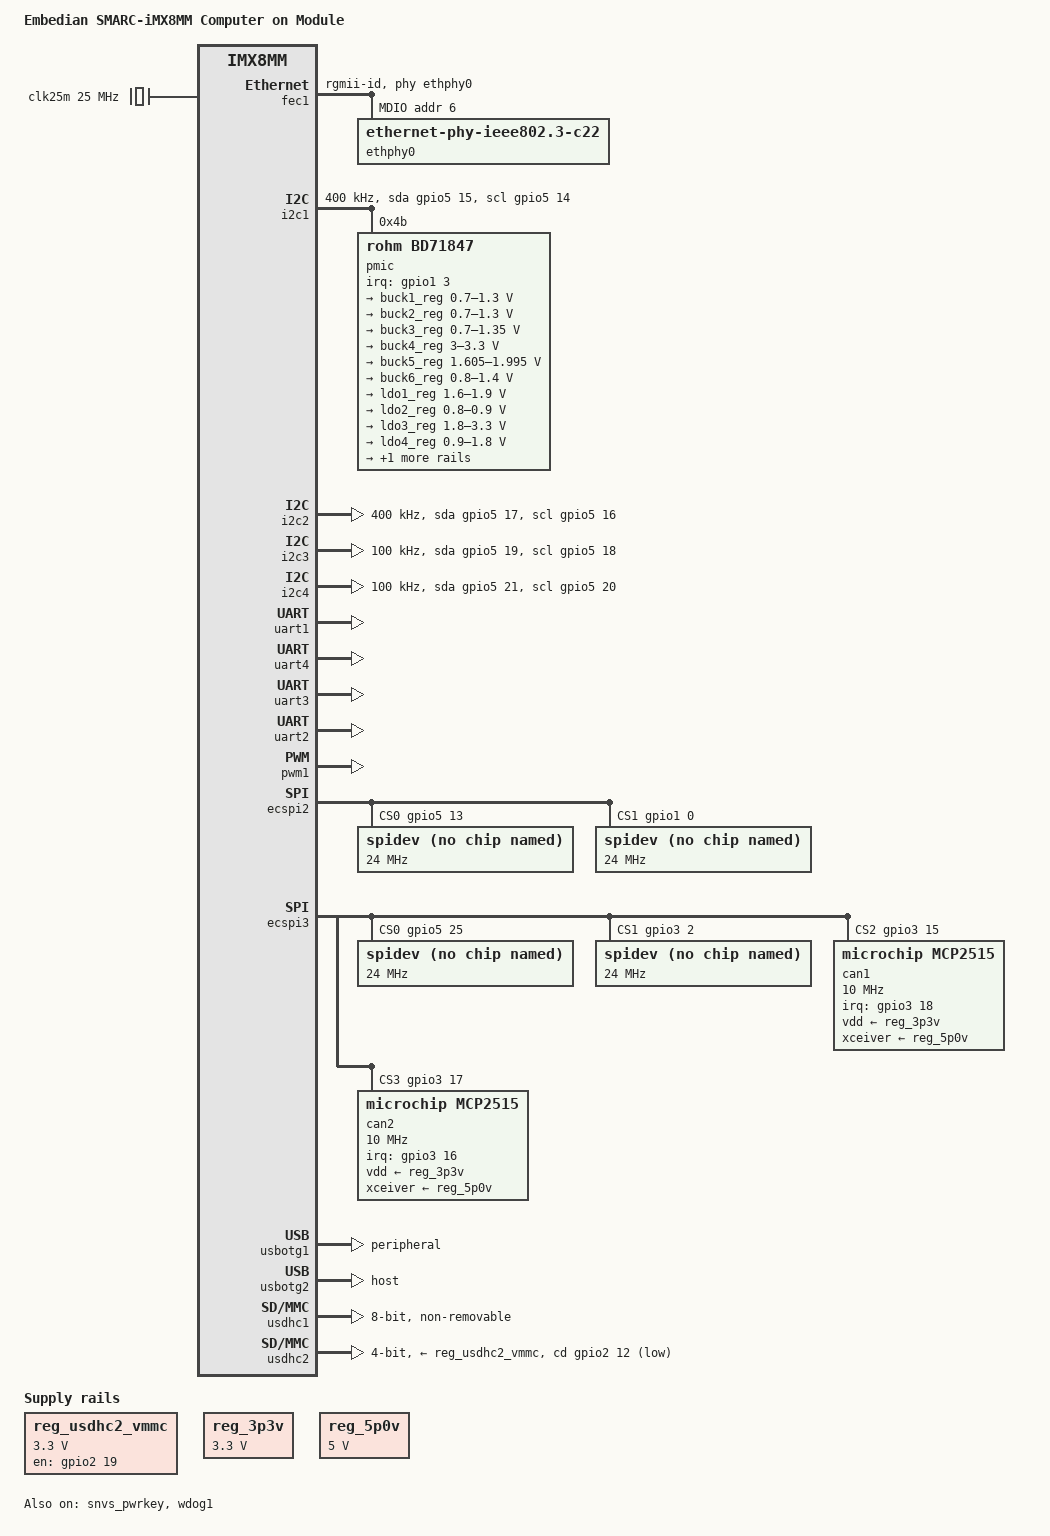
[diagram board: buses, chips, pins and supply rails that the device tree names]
// SPDX-License-Identifier: (GPL-2.0+ OR MIT)
/*
 * Copyright 2019 NXP
 * Copyright 2020 EMBEDIAN, INC.
 */

/dts-v1/;

#include <dt-bindings/usb/pd.h>
#include "imx8mm.dtsi"

/ {
	model = "Embedian SMARC-iMX8MM Computer on Module";
	compatible = "embedian,smarcimx8mm", "fsl,imx8mm";

	reg_usdhc2_vmmc: regulator-usdhc2 {
		compatible = "regulator-fixed";
		pinctrl-names = "default";
		pinctrl-0 = <&pinctrl_reg_usdhc2_vmmc>;
		regulator-name = "VSD_3V3";
		regulator-min-microvolt = <3300000>;
		regulator-max-microvolt = <3300000>;
		gpio = <&gpio2 19 GPIO_ACTIVE_HIGH>;
		off-on-delay-us = <20000>;
		enable-active-high;
	};

        backlight: backlight {
                compatible = "pwm-backlight";
                pwms = <&pwm1 0 1000000 0>;
                brightness-levels = < 0  1  2  3  4  5  6  7  8  9
                                     10 11 12 13 14 15 16 17 18 19
                                     20 21 22 23 24 25 26 27 28 29
                                     30 31 32 33 34 35 36 37 38 39
                                     40 41 42 43 44 45 46 47 48 49
                                     50 51 52 53 54 55 56 57 58 59
                                     60 61 62 63 64 65 66 67 68 69
                                     70 71 72 73 74 75 76 77 78 79
                                     80 81 82 83 84 85 86 87 88 89
                                     90 91 92 93 94 95 96 97 98 99
                                    100>;
                default-brightness-level = <80>;
                status = "disabled";
        };

	dsi_host: dsi-host {
		compatible = "samsung,sec-mipi-dsi";
		status = "okay";
	};

	reg_3p3v: 3p3v {
		compatible = "regulator-fixed";
		regulator-name = "3P3V";
		regulator-min-microvolt = <3300000>;
		regulator-max-microvolt = <3300000>;
		regulator-always-on;
	};

	reg_5p0v: 5p0v {
		compatible = "regulator-fixed";
		regulator-name = "5P0V";
		regulator-min-microvolt = <5000000>;
		regulator-max-microvolt = <5000000>;
		regulator-always-on;
	};

        /* external oscillator of mcp2515 on SPI1.2 and SPI1.3 */
        clk25m: clock-25m {
                compatible = "fixed-clock";
                #clock-cells = <0>;
                clock-frequency  = <25000000>;
                clock-output-names = "clk25m";
        };
};

&A53_0 {
	cpu-supply = <&buck2_reg>;
};

&fec1 {
	pinctrl-names = "default";
	pinctrl-0 = <&pinctrl_fec1>;
	phy-mode = "rgmii-id";
	phy-handle = <&ethphy0>;
	fsl,magic-packet;
	status = "okay";

	mdio {
		#address-cells = <1>;
		#size-cells = <0>;

		ethphy0: ethernet-phy@0 {
			compatible = "ethernet-phy-ieee802.3-c22";
			reg = <6>;
		};
	};
};

&i2c1 {
	clock-frequency = <400000>;
	pinctrl-names = "default", "gpio";
	pinctrl-0 = <&pinctrl_i2c1>;
	pinctrl-1 = <&pinctrl_i2c1_gpio>;
	scl-gpios = <&gpio5 14 GPIO_ACTIVE_HIGH>;
	sda-gpios = <&gpio5 15 GPIO_ACTIVE_HIGH>;

	pmic@4b {
		compatible = "rohm,bd71847";
		reg = <0x4b>;
		pinctrl-0 = <&pinctrl_pmic>;
		interrupt-parent = <&gpio1>;
		interrupts = <3 GPIO_ACTIVE_LOW>;
		rohm,reset-snvs-powered;

		regulators {
			buck1_reg: BUCK1 {
				regulator-name = "BUCK1";
				regulator-min-microvolt = <700000>;
				regulator-max-microvolt = <1300000>;
				regulator-boot-on;
				regulator-always-on;
				regulator-ramp-delay = <1250>;
			};

			buck2_reg: BUCK2 {
				regulator-name = "BUCK2";
				regulator-min-microvolt = <700000>;
				regulator-max-microvolt = <1300000>;
				regulator-boot-on;
				regulator-always-on;
				regulator-ramp-delay = <1250>;
				rohm,dvs-run-voltage = <1000000>;
				rohm,dvs-idle-voltage = <900000>;
			};

			buck3_reg: BUCK3 {
				// BUCK5 in datasheet
				regulator-name = "BUCK3";
				regulator-min-microvolt = <700000>;
				regulator-max-microvolt = <1350000>;
				regulator-boot-on;
				regulator-always-on;
			};

			buck4_reg: BUCK4 {
				// BUCK6 in datasheet
				regulator-name = "BUCK4";
				regulator-min-microvolt = <3000000>;
				regulator-max-microvolt = <3300000>;
				regulator-boot-on;
				regulator-always-on;
			};

			buck5_reg: BUCK5 {
				// BUCK7 in datasheet
				regulator-name = "BUCK5";
				regulator-min-microvolt = <1605000>;
				regulator-max-microvolt = <1995000>;
				regulator-boot-on;
				regulator-always-on;
			};

			buck6_reg: BUCK6 {
				// BUCK8 in datasheet
				regulator-name = "BUCK6";
				regulator-min-microvolt = <800000>;
				regulator-max-microvolt = <1400000>;
				regulator-boot-on;
				regulator-always-on;
			};

			ldo1_reg: LDO1 {
				regulator-name = "LDO1";
				regulator-min-microvolt = <1600000>;
				regulator-max-microvolt = <1900000>;
				regulator-boot-on;
				regulator-always-on;
			};

			ldo2_reg: LDO2 {
				regulator-name = "LDO2";
				regulator-min-microvolt = <800000>;
				regulator-max-microvolt = <900000>;
				regulator-boot-on;
				regulator-always-on;
			};

			ldo3_reg: LDO3 {
				regulator-name = "LDO3";
				regulator-min-microvolt = <1800000>;
				regulator-max-microvolt = <3300000>;
				regulator-boot-on;
				regulator-always-on;
			};

			ldo4_reg: LDO4 {
				regulator-name = "LDO4";
				regulator-min-microvolt = <900000>;
				regulator-max-microvolt = <1800000>;
				regulator-boot-on;
				regulator-always-on;
			};

			ldo6_reg: LDO6 {
				regulator-name = "LDO6";
				regulator-min-microvolt = <900000>;
				regulator-max-microvolt = <1800000>;
				regulator-boot-on;
				regulator-always-on;
			};
		};
	};
};

&i2c2 {
	clock-frequency = <400000>;
	pinctrl-names = "default", "gpio";
	pinctrl-0 = <&pinctrl_i2c2>;
	pinctrl-1 = <&pinctrl_i2c2_gpio>;
	scl-gpios = <&gpio5 16 GPIO_ACTIVE_HIGH>;
	sda-gpios = <&gpio5 17 GPIO_ACTIVE_HIGH>;
	status = "okay";
};

&i2c3 {
	clock-frequency = <100000>;
	pinctrl-names = "default", "gpio";
	pinctrl-0 = <&pinctrl_i2c3>;
	pinctrl-1 = <&pinctrl_i2c3_gpio>;
	scl-gpios = <&gpio5 18 GPIO_ACTIVE_HIGH>;
	sda-gpios = <&gpio5 19 GPIO_ACTIVE_HIGH>;
	status = "okay";
};

&i2c4 {
        clock-frequency = <100000>;
        pinctrl-names = "default", "gpio";
        pinctrl-0 = <&pinctrl_i2c4>;
        pinctrl-1 = <&pinctrl_i2c4_gpio>;
        scl-gpios = <&gpio5 20 GPIO_ACTIVE_HIGH>;
        sda-gpios = <&gpio5 21 GPIO_ACTIVE_HIGH>;
        status = "okay";
};

&snvs_pwrkey {
	status = "okay";
};

/* SER0 */
&uart1 {
        pinctrl-names = "default";
        pinctrl-0 = <&pinctrl_uart1>;
        assigned-clocks = <&clk IMX8MM_CLK_UART1>;
        assigned-clock-parents = <&clk IMX8MM_SYS_PLL1_80M>;
        uart-has-rtscts;
        status = "okay";
};

/* SER1 */
&uart4 {
        pinctrl-names = "default";
        pinctrl-0 = <&pinctrl_uart4>;
        status = "okay";
};

/* SER2 */
&uart3 {
        pinctrl-names = "default";
        pinctrl-0 = <&pinctrl_uart3>;
        assigned-clocks = <&clk IMX8MM_CLK_UART3>;
        assigned-clock-parents = <&clk IMX8MM_SYS_PLL1_80M>;
        uart-has-rtscts;
        status = "okay";
};

/* SER3 */
&uart2 { /* console */
        pinctrl-names = "default";
        pinctrl-0 = <&pinctrl_uart2>;
        status = "okay";
};

&pwm1 {
        status = "okay";
        pinctrl-names = "default";
        pinctrl-0 = <&pinctrl_pwm1>;
};

&ecspi2 {
        #address-cells = <1>;
        #size-cells = <0>;
        pinctrl-names = "default";
        pinctrl-0 = <&pinctrl_ecspi2>;
        cs-gpios = <&gpio5 13 0>, <&gpio1 0 0>;
        fsl,spi-num-chipselects = <2>;
        status = "okay";

        spidev@0 {
                compatible = "rohm,dh2228fv";
                reg = <0>;
                spi-max-frequency = <24000000>;
                };

        spidev@1 {
                compatible = "rohm,dh2228fv";
                reg = <1>;
                spi-max-frequency = <24000000>;
                };
};

&ecspi3 {
        #address-cells = <1>;
        #size-cells = <0>;
        pinctrl-names = "default";
        pinctrl-0 = <&pinctrl_ecspi3>;
        cs-gpios = <&gpio5 25 0>, <&gpio3 2 0>, <&gpio3 15 0>, <&gpio3 17 0>;
        fsl,spi-num-chipselects = <4>;
        status = "okay";

        spidev@0 {
                compatible = "rohm,dh2228fv";
                reg = <0>;
                spi-max-frequency = <24000000>;
                };

        spidev@1 {
                compatible = "rohm,dh2228fv";
                reg = <1>;
                spi-max-frequency = <24000000>;
                };

        can1: can@2 {
                compatible = "microchip,mcp2515";
                reg = <2>;
                interrupt-parent = <&gpio3>;
                interrupts = <18 IRQ_TYPE_EDGE_FALLING>;
                spi-max-frequency = <10000000>;
                clocks = <&clk25m>;
                vdd-supply = <&reg_3p3v>;
                xceiver-supply = <&reg_5p0v>;
        };

        can2: can@3 {
                compatible = "microchip,mcp2515";
                reg = <3>;
                interrupt-parent = <&gpio3>;
                interrupts = <16 IRQ_TYPE_EDGE_FALLING>;
                spi-max-frequency = <10000000>;
                clocks = <&clk25m>;
                vdd-supply = <&reg_3p3v>;
                xceiver-supply = <&reg_5p0v>;
  	};
};

&usbotg1 {
        status = "okay";
        dr_mode = "peripheral";
};

&usbotg2 {
        status = "okay";
        dr_mode = "host";
};

&usdhc1 {
        pinctrl-names = "default", "state_100mhz", "state_200mhz";
        pinctrl-0 = <&pinctrl_usdhc1>;
        pinctrl-1 = <&pinctrl_usdhc1_100mhz>;
        pinctrl-2 = <&pinctrl_usdhc1_200mhz>;
        bus-width = <8>;
        non-removable;
        status = "okay";
};

&usdhc2 {
        pinctrl-names = "default", "state_100mhz", "state_200mhz";
        pinctrl-0 = <&pinctrl_usdhc2>, <&pinctrl_usdhc2_gpio>;
        pinctrl-1 = <&pinctrl_usdhc2_100mhz>, <&pinctrl_usdhc2_gpio>;
        pinctrl-2 = <&pinctrl_usdhc2_200mhz>, <&pinctrl_usdhc2_gpio>;
        bus-width = <4>;
        cd-gpios = <&gpio2 12 GPIO_ACTIVE_LOW>;
        vmmc-supply = <&reg_usdhc2_vmmc>;
        status = "okay";
};

&wdog1 {
	pinctrl-names = "default";
	pinctrl-0 = <&pinctrl_wdog>;
	fsl,ext-reset-output;
	status = "okay";
};

&iomuxc {
	pinctrl-names = "default";

	pinctrl_fec1: fec1grp {
		fsl,pins = <
			MX8MM_IOMUXC_ENET_MDC_ENET1_MDC			0x3
			MX8MM_IOMUXC_ENET_MDIO_ENET1_MDIO		0x3
			MX8MM_IOMUXC_ENET_TD3_ENET1_RGMII_TD3		0x1f
			MX8MM_IOMUXC_ENET_TD2_ENET1_RGMII_TD2		0x1f
			MX8MM_IOMUXC_ENET_TD1_ENET1_RGMII_TD1		0x1f
			MX8MM_IOMUXC_ENET_TD0_ENET1_RGMII_TD0		0x1f
			MX8MM_IOMUXC_ENET_RD3_ENET1_RGMII_RD3		0x91
			MX8MM_IOMUXC_ENET_RD2_ENET1_RGMII_RD2		0x91
			MX8MM_IOMUXC_ENET_RD1_ENET1_RGMII_RD1		0x91
			MX8MM_IOMUXC_ENET_RD0_ENET1_RGMII_RD0		0x91
			MX8MM_IOMUXC_ENET_TXC_ENET1_RGMII_TXC		0x1f
			MX8MM_IOMUXC_ENET_RXC_ENET1_RGMII_RXC		0x91
			MX8MM_IOMUXC_ENET_RX_CTL_ENET1_RGMII_RX_CTL	0x91
			MX8MM_IOMUXC_ENET_TX_CTL_ENET1_RGMII_TX_CTL	0x1f
			MX8MM_IOMUXC_NAND_CE3_B_GPIO3_IO4               0x41
		>;
	};

	pinctrl_flexspi0: flexspi0grp {
		fsl,pins = <
			MX8MM_IOMUXC_NAND_ALE_QSPI_A_SCLK               0x1c2
			MX8MM_IOMUXC_NAND_CE0_B_QSPI_A_SS0_B            0x82
			MX8MM_IOMUXC_NAND_DATA00_QSPI_A_DATA0           0x82
			MX8MM_IOMUXC_NAND_DATA01_QSPI_A_DATA1           0x82
			MX8MM_IOMUXC_NAND_DATA02_QSPI_A_DATA2           0x82
			MX8MM_IOMUXC_NAND_DATA03_QSPI_A_DATA3           0x82
		>;
	};

	pinctrl_gpio_led: gpioledgrp {
		fsl,pins = <
			MX8MM_IOMUXC_NAND_READY_B_GPIO3_IO16	0x19
		>;
	};

	pinctrl_gpio_wlf: gpiowlfgrp {
		fsl,pins = <
			MX8MM_IOMUXC_I2C4_SDA_GPIO5_IO21	0xd6
		>;
	};

	pinctrl_pwm1: pwm1grp {
		fsl,pins = <
			MX8MM_IOMUXC_SPDIF_EXT_CLK_PWM1_OUT     0x06
		>;
	};

	pinctrl_i2c1: i2c1grp {
		fsl,pins = <
			MX8MM_IOMUXC_I2C1_SCL_I2C1_SCL		0x400001c3
			MX8MM_IOMUXC_I2C1_SDA_I2C1_SDA		0x400001c3
		>;
	};

	pinctrl_i2c2: i2c2grp {
		fsl,pins = <
			MX8MM_IOMUXC_I2C2_SCL_I2C2_SCL		0x400001c3
			MX8MM_IOMUXC_I2C2_SDA_I2C2_SDA		0x400001c3
		>;
	};

	pinctrl_i2c3: i2c3grp {
		fsl,pins = <
			MX8MM_IOMUXC_I2C3_SCL_I2C3_SCL		0x400001c3
			MX8MM_IOMUXC_I2C3_SDA_I2C3_SDA		0x400001c3
		>;
	};

	pinctrl_i2c4: i2c4grp {
		fsl,pins = <
			MX8MM_IOMUXC_I2C4_SCL_I2C4_SCL		0x400001c3
			MX8MM_IOMUXC_I2C4_SDA_I2C4_SDA		0x400001c3
		>;
	};

	pinctrl_i2c1_gpio: i2c1grp-gpio {
		fsl,pins = <
			MX8MM_IOMUXC_I2C1_SCL_GPIO5_IO14        0x1c3
			MX8MM_IOMUXC_I2C1_SDA_GPIO5_IO15        0x1c3
		>;
	};

	pinctrl_i2c2_gpio: i2c2grp-gpio {
		fsl,pins = <
			MX8MM_IOMUXC_I2C2_SCL_GPIO5_IO16        0x1c3
			MX8MM_IOMUXC_I2C2_SDA_GPIO5_IO17        0x1c3
		>;
	};

	pinctrl_i2c3_gpio: i2c3grp-gpio {
		fsl,pins = <
			MX8MM_IOMUXC_I2C3_SCL_GPIO5_IO18        0x1c3
			MX8MM_IOMUXC_I2C3_SDA_GPIO5_IO19        0x1c3
		>;
	};

	pinctrl_i2c4_gpio: i2c4grp-gpio {
		fsl,pins = <
			MX8MM_IOMUXC_I2C4_SCL_GPIO5_IO20	0x1c3
			MX8MM_IOMUXC_I2C4_SDA_GPIO5_IO21	0x1c3
		>;
	};

	pinctrl_pmic: pmicirq {
		fsl,pins = <
			MX8MM_IOMUXC_GPIO1_IO03_GPIO1_IO3	0x41
		>;
	};

	pinctrl_reg_usdhc2_vmmc: regusdhc2vmmc {
		fsl,pins = <
			MX8MM_IOMUXC_SD2_RESET_B_GPIO2_IO19	0x41
		>;
	};

	pinctrl_sai3: sai3grp {
		fsl,pins = <
			MX8MM_IOMUXC_SAI3_TXFS_SAI3_TX_SYNC     0xd6
			MX8MM_IOMUXC_SAI3_TXC_SAI3_TX_BCLK      0xd6
			MX8MM_IOMUXC_SAI3_MCLK_SAI3_MCLK        0xd6
			MX8MM_IOMUXC_SAI3_TXD_SAI3_TX_DATA0     0xd6
		>;
	};

	pinctrl_typec1: typec1grp {
		fsl,pins = <
			MX8MM_IOMUXC_SD1_STROBE_GPIO2_IO11	0x159
		>;
	};

        pinctrl_uart1: uart1grp {
                fsl,pins = <
                        MX8MM_IOMUXC_SAI2_RXC_UART1_DCE_RX	0x140
                        MX8MM_IOMUXC_SAI2_RXFS_UART1_DCE_TX	0x140
                        MX8MM_IOMUXC_UART3_TXD_UART1_DCE_RTS_B	0x140
                        MX8MM_IOMUXC_UART3_RXD_UART1_DCE_CTS_B	0x140
                >;
        };

	pinctrl_uart2: uart2grp {
		fsl,pins = <
			MX8MM_IOMUXC_SAI3_TXFS_UART2_DCE_RX	0x140
			MX8MM_IOMUXC_SAI3_TXC_UART2_DCE_TX	0x140
		>;
	};

	pinctrl_uart3: uart3grp {
		fsl,pins = <
			MX8MM_IOMUXC_ECSPI1_SCLK_UART3_DCE_RX		0x140
			MX8MM_IOMUXC_ECSPI1_MOSI_UART3_DCE_TX		0x140
			MX8MM_IOMUXC_ECSPI1_SS0_UART3_DCE_RTS_B		0x140
			MX8MM_IOMUXC_ECSPI1_MISO_UART3_DCE_CTS_B	0x140
		>;
	};

	pinctrl_uart4: uart4grp {
		fsl,pins = <
			MX8MM_IOMUXC_UART4_RXD_UART4_DCE_RX	0x140
			MX8MM_IOMUXC_UART4_TXD_UART4_DCE_TX	0x140
		>;
	};

	pinctrl_usdhc1: usdhc1grp {
		fsl,pins = <
			MX8MM_IOMUXC_SD1_CLK_USDHC1_CLK		0x190
			MX8MM_IOMUXC_SD1_CMD_USDHC1_CMD		0x1d0
			MX8MM_IOMUXC_SD1_DATA0_USDHC1_DATA0	0x1d0
			MX8MM_IOMUXC_SD1_DATA1_USDHC1_DATA1	0x1d0
			MX8MM_IOMUXC_SD1_DATA2_USDHC1_DATA2	0x1d0
			MX8MM_IOMUXC_SD1_DATA3_USDHC1_DATA3	0x1d0
 			MX8MM_IOMUXC_SD1_DATA4_USDHC1_DATA4	0x1d0
 			MX8MM_IOMUXC_SD1_DATA5_USDHC1_DATA5	0x1d0
			MX8MM_IOMUXC_SD1_DATA6_USDHC1_DATA6	0x1d0
 			MX8MM_IOMUXC_SD1_DATA7_USDHC1_DATA7	0x1d0
 			MX8MM_IOMUXC_SD1_STROBE_USDHC1_STROBE	0x190
		>;
	};

	pinctrl_usdhc1_100mhz: usdhc1grp100mhz {
		fsl,pins = <
			MX8MM_IOMUXC_SD1_CLK_USDHC1_CLK		0x194
			MX8MM_IOMUXC_SD1_CMD_USDHC1_CMD		0x1d4
			MX8MM_IOMUXC_SD1_DATA0_USDHC1_DATA0	0x1d4
			MX8MM_IOMUXC_SD1_DATA1_USDHC1_DATA1	0x1d4
			MX8MM_IOMUXC_SD1_DATA2_USDHC1_DATA2	0x1d4
			MX8MM_IOMUXC_SD1_DATA3_USDHC1_DATA3	0x1d4
			MX8MM_IOMUXC_SD1_DATA4_USDHC1_DATA4	0x1d4
			MX8MM_IOMUXC_SD1_DATA5_USDHC1_DATA5	0x1d4
			MX8MM_IOMUXC_SD1_DATA6_USDHC1_DATA6	0x1d4
			MX8MM_IOMUXC_SD1_DATA7_USDHC1_DATA7	0x1d4
			MX8MM_IOMUXC_SD1_STROBE_USDHC1_STROBE	0x194
		>;
	};

		pinctrl_usdhc1_200mhz: usdhc1grp200mhz {
		fsl,pins = <
			MX8MM_IOMUXC_SD1_CLK_USDHC1_CLK		0x196
			MX8MM_IOMUXC_SD1_CMD_USDHC1_CMD		0x1d6
			MX8MM_IOMUXC_SD1_DATA0_USDHC1_DATA0	0x1d6
			MX8MM_IOMUXC_SD1_DATA1_USDHC1_DATA1	0x1d6
			MX8MM_IOMUXC_SD1_DATA2_USDHC1_DATA2	0x1d6
			MX8MM_IOMUXC_SD1_DATA3_USDHC1_DATA3	0x1d6
			MX8MM_IOMUXC_SD1_DATA4_USDHC1_DATA4	0x1d6
			MX8MM_IOMUXC_SD1_DATA5_USDHC1_DATA5	0x1d6
			MX8MM_IOMUXC_SD1_DATA6_USDHC1_DATA6	0x1d6
			MX8MM_IOMUXC_SD1_DATA7_USDHC1_DATA7	0x1d6
			MX8MM_IOMUXC_SD1_STROBE_USDHC1_STROBE	0x196
		>;
	};

	pinctrl_usdhc2_gpio: usdhc2grpgpio {
		fsl,pins = <
			MX8MM_IOMUXC_SD2_RESET_B_GPIO2_IO19	0x1c4
		>;
	};

	pinctrl_usdhc2: usdhc2grp {
		fsl,pins = <
			MX8MM_IOMUXC_SD2_CLK_USDHC2_CLK		0x190
			MX8MM_IOMUXC_SD2_CMD_USDHC2_CMD		0x1d0
			MX8MM_IOMUXC_SD2_DATA0_USDHC2_DATA0	0x1d0
			MX8MM_IOMUXC_SD2_DATA1_USDHC2_DATA1	0x1d0
			MX8MM_IOMUXC_SD2_DATA2_USDHC2_DATA2	0x1d0
			MX8MM_IOMUXC_SD2_DATA3_USDHC2_DATA3	0x1d0
			MX8MM_IOMUXC_GPIO1_IO04_USDHC2_VSELECT	0x1d0
		>;
	};

	pinctrl_usdhc2_100mhz: usdhc2grp100mhz {
		fsl,pins = <
			MX8MM_IOMUXC_SD2_CLK_USDHC2_CLK		0x194
			MX8MM_IOMUXC_SD2_CMD_USDHC2_CMD		0x1d4
			MX8MM_IOMUXC_SD2_DATA0_USDHC2_DATA0	0x1d4
			MX8MM_IOMUXC_SD2_DATA1_USDHC2_DATA1	0x1d4
			MX8MM_IOMUXC_SD2_DATA2_USDHC2_DATA2	0x1d4
			MX8MM_IOMUXC_SD2_DATA3_USDHC2_DATA3	0x1d4
			MX8MM_IOMUXC_GPIO1_IO04_USDHC2_VSELECT	0x1d0
		>;
	};

	pinctrl_usdhc2_200mhz: usdhc2grp200mhz {
		fsl,pins = <
			MX8MM_IOMUXC_SD2_CLK_USDHC2_CLK		0x196
			MX8MM_IOMUXC_SD2_CMD_USDHC2_CMD		0x1d6
			MX8MM_IOMUXC_SD2_DATA0_USDHC2_DATA0	0x1d6
			MX8MM_IOMUXC_SD2_DATA1_USDHC2_DATA1	0x1d6
			MX8MM_IOMUXC_SD2_DATA2_USDHC2_DATA2	0x1d6
			MX8MM_IOMUXC_SD2_DATA3_USDHC2_DATA3	0x1d6
			MX8MM_IOMUXC_GPIO1_IO04_USDHC2_VSELECT	0x1d0
		>;
	};

	pinctrl_usdhc3: usdhc3grp {
		fsl,pins = <
			MX8MM_IOMUXC_NAND_WE_B_USDHC3_CLK		0x190
			MX8MM_IOMUXC_NAND_WP_B_USDHC3_CMD		0x1d0
			MX8MM_IOMUXC_NAND_DATA04_USDHC3_DATA0		0x1d0
			MX8MM_IOMUXC_NAND_DATA05_USDHC3_DATA1		0x1d0
			MX8MM_IOMUXC_NAND_DATA06_USDHC3_DATA2		0x1d0
			MX8MM_IOMUXC_NAND_DATA07_USDHC3_DATA3		0x1d0
			MX8MM_IOMUXC_NAND_RE_B_USDHC3_DATA4		0x1d0
			MX8MM_IOMUXC_NAND_CE2_B_USDHC3_DATA5		0x1d0
			MX8MM_IOMUXC_NAND_CE3_B_USDHC3_DATA6		0x1d0
			MX8MM_IOMUXC_NAND_CLE_USDHC3_DATA7		0x1d0
			MX8MM_IOMUXC_NAND_CE1_B_USDHC3_STROBE		0x190
		>;
	};

	pinctrl_usdhc3_100mhz: usdhc3grp100mhz {
		fsl,pins = <
			MX8MM_IOMUXC_NAND_WE_B_USDHC3_CLK		0x194
			MX8MM_IOMUXC_NAND_WP_B_USDHC3_CMD		0x1d4
			MX8MM_IOMUXC_NAND_DATA04_USDHC3_DATA0		0x1d4
			MX8MM_IOMUXC_NAND_DATA05_USDHC3_DATA1		0x1d4
			MX8MM_IOMUXC_NAND_DATA06_USDHC3_DATA2		0x1d4
			MX8MM_IOMUXC_NAND_DATA07_USDHC3_DATA3		0x1d4
			MX8MM_IOMUXC_NAND_RE_B_USDHC3_DATA4		0x1d4
			MX8MM_IOMUXC_NAND_CE2_B_USDHC3_DATA5		0x1d4
			MX8MM_IOMUXC_NAND_CE3_B_USDHC3_DATA6		0x1d4
			MX8MM_IOMUXC_NAND_CLE_USDHC3_DATA7		0x1d4
			MX8MM_IOMUXC_NAND_CE1_B_USDHC3_STROBE		0x194
		>;
	};

	pinctrl_usdhc3_200mhz: usdhc3grp200mhz {
		fsl,pins = <
			MX8MM_IOMUXC_NAND_WE_B_USDHC3_CLK		0x196
			MX8MM_IOMUXC_NAND_WP_B_USDHC3_CMD		0x1d6
			MX8MM_IOMUXC_NAND_DATA04_USDHC3_DATA0		0x1d6
			MX8MM_IOMUXC_NAND_DATA05_USDHC3_DATA1		0x1d6
			MX8MM_IOMUXC_NAND_DATA06_USDHC3_DATA2		0x1d6
			MX8MM_IOMUXC_NAND_DATA07_USDHC3_DATA3		0x1d6
			MX8MM_IOMUXC_NAND_RE_B_USDHC3_DATA4		0x1d6
			MX8MM_IOMUXC_NAND_CE2_B_USDHC3_DATA5		0x1d6
			MX8MM_IOMUXC_NAND_CE3_B_USDHC3_DATA6		0x1d6
			MX8MM_IOMUXC_NAND_CLE_USDHC3_DATA7		0x1d6
			MX8MM_IOMUXC_NAND_CE1_B_USDHC3_STROBE		0x196
		>;
	};

	pinctrl_wdog: wdoggrp {
		fsl,pins = <
			MX8MM_IOMUXC_GPIO1_IO02_WDOG1_WDOG_B	0xc6
		>;
	};

	pinctrl_ecspi2: ecspi2grp {
		fsl,pins = <
                	MX8MM_IOMUXC_ECSPI2_SCLK_ECSPI2_SCLK    0x13
			MX8MM_IOMUXC_ECSPI2_MOSI_ECSPI2_MOSI    0x13
			MX8MM_IOMUXC_ECSPI2_MISO_ECSPI2_MISO    0x13
			MX8MM_IOMUXC_ECSPI2_SS0_GPIO5_IO13      0x13
			MX8MM_IOMUXC_GPIO1_IO00_GPIO1_IO0       0x13
		>;
	};

pinctrl_ecspi3: ecspi3grp {
		fsl,pins = <
			MX8MM_IOMUXC_UART1_RXD_ECSPI3_SCLK      0x13
			MX8MM_IOMUXC_UART1_TXD_ECSPI3_MOSI      0x13
			MX8MM_IOMUXC_UART2_RXD_ECSPI3_MISO      0x13
			MX8MM_IOMUXC_UART2_TXD_GPIO5_IO25       0x13
			MX8MM_IOMUXC_NAND_CE1_B_GPIO3_IO2       0x13
			MX8MM_IOMUXC_NAND_RE_B_GPIO3_IO15       0x13
			MX8MM_IOMUXC_NAND_WE_B_GPIO3_IO17       0x13
		>;
	};

	pinctrl_mipi_dsi_en: mipi_dsi_en {
		fsl,pins = <
			MX8MM_IOMUXC_GPIO1_IO08_GPIO1_IO8	0x19
		>;
	};
};
